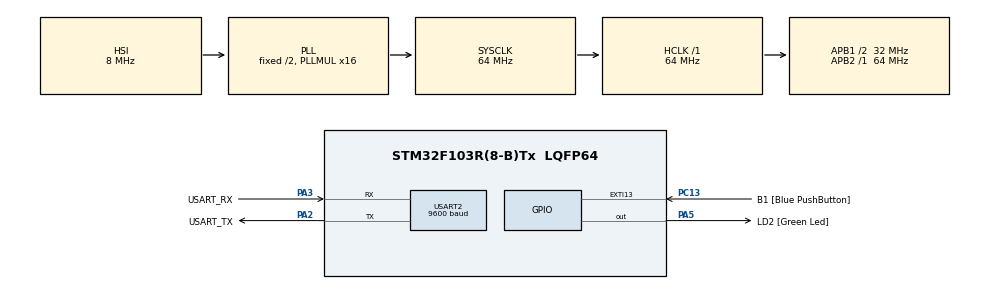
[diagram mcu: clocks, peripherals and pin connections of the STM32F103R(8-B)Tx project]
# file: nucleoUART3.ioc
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Mcu.Family=STM32F1
Mcu.Name=STM32F103R(8-B)Tx
Mcu.Package=LQFP64
NVIC.EXTI15_10_IRQn=true\:0\:0\:false\:false\:true\:true\:true\:true
NVIC.PriorityGroup=NVIC_PRIORITYGROUP_4
PA13.GPIO_Label=TMS
PA13.Mode=Serial_Wire
PA13.Signal=SYS_JTMS-SWDIO
PA14.GPIO_Label=TCK
PA14.Mode=Serial_Wire
PA14.Signal=SYS_JTCK-SWCLK
PA2.GPIO_Label=USART_TX
PA2.GPIO_Mode=GPIO_MODE_AF_PP
PA2.GPIO_PuPd=GPIO_NOPULL
PA2.GPIO_Speed=GPIO_SPEED_FREQ_LOW
PA2.Mode=Asynchronous
PA2.Signal=USART2_TX
PA3.GPIO_Label=USART_RX
PA3.GPIO_Mode=GPIO_MODE_AF_PP
PA3.GPIO_PuPd=GPIO_NOPULL
PA3.GPIO_Speed=GPIO_SPEED_FREQ_LOW
PA3.Mode=Asynchronous
PA3.Signal=USART2_RX
PA5.GPIO_Label=LD2 [Green Led]
PA5.GPIO_ModeDefaultOutputPP=GPIO_MODE_OUTPUT_PP
PA5.GPIO_PuPd=GPIO_NOPULL
PA5.GPIO_Speed=GPIO_SPEED_FREQ_LOW
PA5.Signal=GPIO_Output
PB3.GPIO_Label=SWO
PB3.Signal=SYS_JTDO-TRACESWO
PC13-TAMPER-RTC.GPIO_Label=B1 [Blue PushButton]
PC13-TAMPER-RTC.GPIO_PuPd=GPIO_NOPULL
PC13-TAMPER-RTC.Signal=GPXTI13
PC14-OSC32_IN.Mode=LSE-External-Oscillator
PC14-OSC32_IN.Signal=RCC_OSC32_IN
PC15-OSC32_OUT.Mode=LSE-External-Oscillator
PC15-OSC32_OUT.Signal=RCC_OSC32_OUT
PD0-OSC_IN.Mode=HSE-External-Clock-Source
PD0-OSC_IN.Signal=RCC_OSC_IN
PD1-OSC_OUT.Mode=HSE-External-Clock-Source
PD1-OSC_OUT.Signal=RCC_OSC_OUT
ProjectManager.HeapSize=0x200
ProjectManager.StackSize=0x400
ProjectManager.TargetToolchain=STM32CubeIDE
RCC.AHBFreq_Value=64000000
RCC.APB1CLKDivider=RCC_HCLK_DIV2
RCC.APB1Freq_Value=32000000
RCC.APB1TimFreq_Value=64000000
RCC.APB2Freq_Value=64000000
RCC.APB2TimFreq_Value=64000000
RCC.HCLKFreq_Value=64000000
RCC.PLLMUL=RCC_PLL_MUL16
RCC.RTCClockSelection=RCC_RTCCLKSOURCE_LSE
RCC.SYSCLKFreq_VALUE=64000000
RCC.SYSCLKSource=RCC_SYSCLKSOURCE_PLLCLK
RCC.USBFreq_Value=64000000
USART2.BaudRate=9600
USART2.VirtualMode=VM_ASYNC
board=NUCLEO-F103RB

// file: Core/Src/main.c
/* USER CODE BEGIN Header */
/**
 ******************************************************************************
 * @file           : main.c
 * @brief          : Main program body
 ******************************************************************************
 * @attention
 *
 * Copyright (c) 2022 STMicroelectronics.
 * All rights reserved.
 *
 * This software is licensed under terms that can be found in the LICENSE file
 * in the root directory of this software component.
 * If no LICENSE file comes with this software, it is provided AS-IS.
 *
 ******************************************************************************
 */
/* USER CODE END Header */
#include "main.h"
#include "string.h"

/* USER CODE BEGIN PD */
#define TxBufferSize (countof(TxBuffer) -1 )
#define RxBufferSize 0xFF
#define countof(a) (sizeof(a) / sizeof(*(a)))
/* USER CODE END PD */

UART_HandleTypeDef huart2;

/* USER CODE BEGIN PV */
uint8_t TxBuffer[100] = "\n\rHello\n\r\n\r";
uint8_t RxBuffer[RxBufferSize];
uint8_t RxTmpBuffer[RxBufferSize]="1";
/* USER CODE END PV */

void SystemClock_Config(void);
static void MX_GPIO_Init(void);
static void MX_USART2_UART_Init(void);

int main(void) {

	/* MCU Configuration--------------------------------------------------------*/

	/* Reset of all peripherals, Initializes the Flash interface and the Systick. */
	HAL_Init();

	/* Configure the system clock */
	SystemClock_Config();

	/* Initialize all configured peripherals */
	MX_GPIO_Init();
	MX_USART2_UART_Init();
	/* USER CODE BEGIN 2 */
	HAL_UART_Transmit(&huart2, TxBuffer, TxBufferSize, 0xffff);
	int cnt = 0;
	/* USER CODE END 2 */

	/* Infinite loop */
	while (1) {

		/* USER CODE BEGIN 3 */
		if (HAL_UART_Receive(&huart2, RxBuffer, 1, 5000) == HAL_OK) {
			if (strcmp((char*) RxBuffer,"\r")!=0) {
				strcat((char*)RxTmpBuffer,(char*)RxBuffer);
				cnt++;
			} else if (strcmp((char*) RxBuffer,"\r")==0) {
				HAL_UART_Transmit(&huart2, "success\n\r", 20, 5000);

				HAL_UART_Transmit(&huart2, RxTmpBuffer, cnt, 5000);
				cnt = 0;
			}
		}
//	  if(HAL_UART_Receive(&huart2, RxBuffer, 10, 5000)==HAL_OK)
//	  {
//		  HAL_UART_Transmit(&huart2, "\n\r", 2, 5000);
//		  strcat((char*)RxBuffer,"\n\r");
//		  HAL_UART_Transmit(&huart2, RxBuffer, 12, 5000);
//	  }
	}
	/* USER CODE END 3 */
}

void SystemClock_Config(void) {
	RCC_OscInitTypeDef RCC_OscInitStruct = { 0 };
	RCC_ClkInitTypeDef RCC_ClkInitStruct = { 0 };

	/** Initializes the RCC Oscillators according to the specified parameters
	 * in the RCC_OscInitTypeDef structure.
	 */
	RCC_OscInitStruct.OscillatorType = RCC_OSCILLATORTYPE_HSI;
	RCC_OscInitStruct.HSIState = RCC_HSI_ON;
	RCC_OscInitStruct.HSICalibrationValue = RCC_HSICALIBRATION_DEFAULT;
	RCC_OscInitStruct.PLL.PLLState = RCC_PLL_ON;
	RCC_OscInitStruct.PLL.PLLSource = RCC_PLLSOURCE_HSI_DIV2;
	RCC_OscInitStruct.PLL.PLLMUL = RCC_PLL_MUL16;
	if (HAL_RCC_OscConfig(&RCC_OscInitStruct) != HAL_OK) {
		Error_Handler();
	}

	/** Initializes the CPU, AHB and APB buses clocks
	 */
	RCC_ClkInitStruct.ClockType = RCC_CLOCKTYPE_HCLK | RCC_CLOCKTYPE_SYSCLK
			| RCC_CLOCKTYPE_PCLK1 | RCC_CLOCKTYPE_PCLK2;
	RCC_ClkInitStruct.SYSCLKSource = RCC_SYSCLKSOURCE_PLLCLK;
	RCC_ClkInitStruct.AHBCLKDivider = RCC_SYSCLK_DIV1;
	RCC_ClkInitStruct.APB1CLKDivider = RCC_HCLK_DIV2;
	RCC_ClkInitStruct.APB2CLKDivider = RCC_HCLK_DIV1;

	if (HAL_RCC_ClockConfig(&RCC_ClkInitStruct, FLASH_LATENCY_2) != HAL_OK) {
		Error_Handler();
	}
}

static void MX_USART2_UART_Init(void) {

	huart2.Instance = USART2;
	huart2.Init.BaudRate = 9600;
	huart2.Init.WordLength = UART_WORDLENGTH_8B;
	huart2.Init.StopBits = UART_STOPBITS_1;
	huart2.Init.Parity = UART_PARITY_NONE;
	huart2.Init.Mode = UART_MODE_TX_RX;
	huart2.Init.HwFlowCtl = UART_HWCONTROL_NONE;
	huart2.Init.OverSampling = UART_OVERSAMPLING_16;
	if (HAL_UART_Init(&huart2) != HAL_OK) {
		Error_Handler();
	}

}

static void MX_GPIO_Init(void) {
	GPIO_InitTypeDef GPIO_InitStruct = { 0 };

	/* GPIO Ports Clock Enable */
	__HAL_RCC_GPIOC_CLK_ENABLE();
	__HAL_RCC_GPIOD_CLK_ENABLE();
	__HAL_RCC_GPIOA_CLK_ENABLE();
	__HAL_RCC_GPIOB_CLK_ENABLE();

	/*Configure GPIO pin Output Level */
	HAL_GPIO_WritePin(LD2_GPIO_Port, LD2_Pin, GPIO_PIN_RESET);

	/*Configure GPIO pin : B1_Pin */
	GPIO_InitStruct.Pin = B1_Pin;
	GPIO_InitStruct.Mode = GPIO_MODE_IT_RISING;
	GPIO_InitStruct.Pull = GPIO_NOPULL;
	HAL_GPIO_Init(B1_GPIO_Port, &GPIO_InitStruct);

	/*Configure GPIO pin : LD2_Pin */
	GPIO_InitStruct.Pin = LD2_Pin;
	GPIO_InitStruct.Mode = GPIO_MODE_OUTPUT_PP;
	GPIO_InitStruct.Pull = GPIO_NOPULL;
	GPIO_InitStruct.Speed = GPIO_SPEED_FREQ_LOW;
	HAL_GPIO_Init(LD2_GPIO_Port, &GPIO_InitStruct);

	/* EXTI interrupt init*/
	HAL_NVIC_SetPriority(EXTI15_10_IRQn, 0, 0);
	HAL_NVIC_EnableIRQ(EXTI15_10_IRQn);

}

void Error_Handler(void) {
	__disable_irq();
	while (1) {
	}
}
